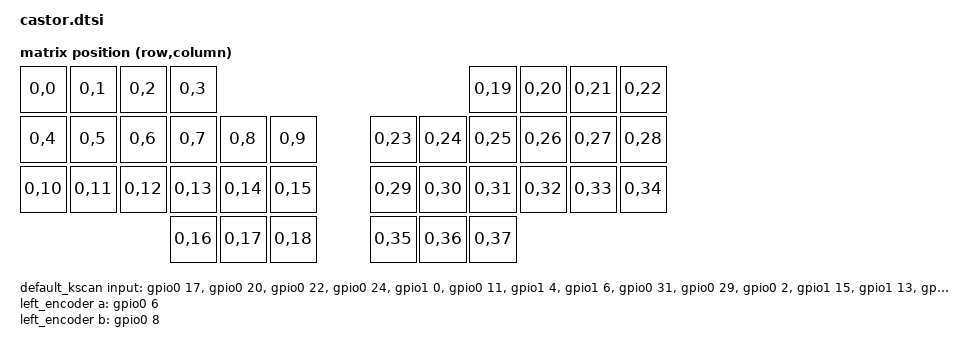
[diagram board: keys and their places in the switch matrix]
#include <dt-bindings/zmk/matrix_transform.h>

/ {
	chosen {
		zmk,kscan = &default_kscan;
		zmk,matrix_transform = &default_transform;
	};

	default_kscan: kscan0 {
		compatible = "zmk,kscan-gpio-direct";
		wakeup-source;

		input-gpios
		//left side
		// = <&gpio0 6  (GPIO_ACTIVE_LOW | GPIO_PULL_UP)>// D1   P0.06  // left - encoder A  |  right - trackpoint SDA
		// , <&gpio0 8  (GPIO_ACTIVE_LOW | GPIO_PULL_UP)>// D0   P0.08  // left - encoder B  |  right - trackpoint SCL
		= <&gpio0 17 (GPIO_ACTIVE_LOW | GPIO_PULL_UP)>// D2   P0.17
		, <&gpio0 20 (GPIO_ACTIVE_LOW | GPIO_PULL_UP)>// D3   P0.20
		, <&gpio0 22 (GPIO_ACTIVE_LOW | GPIO_PULL_UP)>// D4   P0.22
		, <&gpio0 24 (GPIO_ACTIVE_LOW | GPIO_PULL_UP)>// D5   P0.24
		, <&gpio1 0  (GPIO_ACTIVE_LOW | GPIO_PULL_UP)>// D6   P1.00
		, <&gpio0 11 (GPIO_ACTIVE_LOW | GPIO_PULL_UP)>// D7   P0.11
		, <&gpio1 4  (GPIO_ACTIVE_LOW | GPIO_PULL_UP)>// D8   P1.04
		, <&gpio1 6  (GPIO_ACTIVE_LOW | GPIO_PULL_UP)>// D9   P1.06

		//right side
		, <&gpio0 31 (GPIO_ACTIVE_LOW | GPIO_PULL_UP)>// D21  P0.31
		, <&gpio0 29 (GPIO_ACTIVE_LOW | GPIO_PULL_UP)>// D20  P0.29
		, <&gpio0 2  (GPIO_ACTIVE_LOW | GPIO_PULL_UP)>// D19  P0.02
		, <&gpio1 15 (GPIO_ACTIVE_LOW | GPIO_PULL_UP)>// D18  P1.15
		, <&gpio1 13 (GPIO_ACTIVE_LOW | GPIO_PULL_UP)>// D15  P1.13
		, <&gpio1 11 (GPIO_ACTIVE_LOW | GPIO_PULL_UP)>// D14  P1.11
		, <&gpio0 10 (GPIO_ACTIVE_LOW | GPIO_PULL_UP)>// D16  P0.10
		, <&gpio0 9  (GPIO_ACTIVE_LOW | GPIO_PULL_UP)>// D10  P0.09

		//additional pins
		, <&gpio1 1  (GPIO_ACTIVE_LOW | GPIO_PULL_UP)>//      P1.01
		, <&gpio1 2  (GPIO_ACTIVE_LOW | GPIO_PULL_UP)>//      P1.02
		, <&gpio1 7  (GPIO_ACTIVE_LOW | GPIO_PULL_UP)>//      P1.07
		;
	};

	default_transform: keymap_transform_0 {
		compatible = "zmk,matrix-transform";
		columns = <38>;
		rows = <1>;
		map = <
										RC(0,0)   RC(0,1)   RC(0,2)   RC(0,3)					RC(0,19)  RC(0,20)  RC(0,21)  RC(0,22)
RC(0,4)   RC(0,5)   RC(0,6)   RC(0,7)   RC(0,8)		RC(0,9)   			RC(0,23)  RC(0,24)  RC(0,25)  RC(0,26)  RC(0,27) 	RC(0,28)
RC(0,10)  RC(0,11)  RC(0,12)  RC(0,13)  RC(0,14)  RC(0,15)				RC(0,29)  RC(0,30)  RC(0,31)  RC(0,32)  RC(0,33)  RC(0,34)
															RC(0,16)  RC(0,17)  RC(0,18)				RC(0,35)  RC(0,36)  RC(0,37)
		>;
	};

	left_encoder: encoder_0 {
		compatible = "alps,ec11";
		// resolution = <4>;
		a-gpios = <&gpio0 6 (GPIO_ACTIVE_HIGH | GPIO_PULL_UP)>;
		b-gpios = <&gpio0 8 (GPIO_ACTIVE_HIGH | GPIO_PULL_UP)>;
		steps = <24>;
		status = "disabled";
	};

	sensors {
		compatible = "zmk,keymap-sensors";
		sensors = <&left_encoder>;
		triggers-per-rotation = <48>;
	};
};
